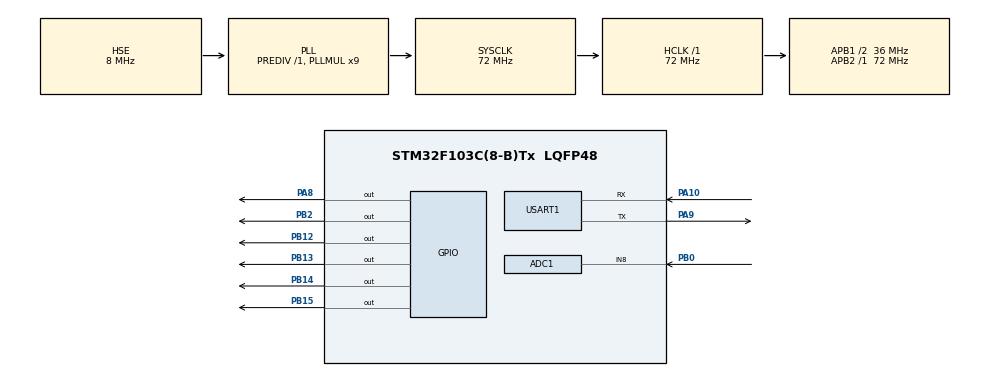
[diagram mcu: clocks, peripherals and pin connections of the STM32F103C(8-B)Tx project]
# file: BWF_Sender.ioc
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Mcu.Family=STM32F1
RCC.PLLSourceVirtual=RCC_PLLSOURCE_HSE
ADC1.Rank-0\#ChannelRegularConversion=1
PD1-OSC_OUT.Mode=HSE-External-Oscillator
PA10.Mode=Asynchronous
PD0-OSC_IN.Signal=RCC_OSC_IN
RCC.APB1CLKDivider=RCC_HCLK_DIV2
VP_SYS_VS_ND.Mode=No_Debug
PB15.Signal=GPIO_Output
PB13.Signal=GPIO_Output
RCC.SYSCLKSource=RCC_SYSCLKSOURCE_PLLCLK
ProjectManager.StackSize=0x400
PD1-OSC_OUT.Signal=RCC_OSC_OUT
RCC.ADCPresc=RCC_ADCPCLK2_DIV6
PA9.Mode=Asynchronous
ProjectManager.TargetToolchain=STM32CubeIDE
RCC.HCLKFreq_Value=72000000
RCC.APB2TimFreq_Value=72000000
PA9.Signal=USART1_TX
RCC.USBFreq_Value=72000000
RCC.AHBFreq_Value=72000000
PD0-OSC_IN.Mode=HSE-External-Oscillator
PB14.Signal=GPIO_Output
ADC1.Channel-0\#ChannelRegularConversion=ADC_CHANNEL_8
PB2.Signal=GPIO_Output
board=custom
RCC.PLLMUL=RCC_PLL_MUL9
RCC.APB2Freq_Value=72000000
VP_TIM2_VS_ClockSourceINT.Mode=Internal
SH.ADCx_IN8.0=ADC1_IN8,IN8
PA8.Signal=GPIO_Output
TIM2.Period=0xffff-1
Mcu.Name=STM32F103C(8-B)Tx
PB2.GPIO_PuPd=GPIO_PULLDOWN
ADC1.SamplingTime-0\#ChannelRegularConversion=ADC_SAMPLETIME_1CYCLE_5
RCC.SYSCLKFreq_VALUE=72000000
Mcu.Package=LQFP48
TIM2.Prescaler=72-1
ADC1.master=1
USART1.VirtualMode=VM_ASYNC
PA10.Signal=USART1_RX
ProjectManager.HeapSize=0x200
NVIC.PriorityGroup=NVIC_PRIORITYGROUP_4
ADC1.NbrOfConversionFlag=1
RCC.APB1TimFreq_Value=72000000
RCC.APB1Freq_Value=36000000
PB0.Signal=ADCx_IN8
PB12.Signal=GPIO_Output

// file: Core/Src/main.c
/* USER CODE BEGIN Header */
/**
  ******************************************************************************
  * @file           : main.c
  * @brief          : Main program body
  ******************************************************************************
  * @attention
  *
  * <h2><center>&copy; Copyright (c) 2021 STMicroelectronics.
  * All rights reserved.</center></h2>
  *
  * This software component is licensed by ST under BSD 3-Clause license,
  * the "License"; You may not use this file except in compliance with the
  * License. You may obtain a copy of the License at:
  *                        opensource.org/licenses/BSD-3-Clause
  *
  ******************************************************************************
  */
/* USER CODE END Header */
#include "main.h"
#include "string.h"
#include "stdio.h"
#include "math.h"
#include "stdlib.h"

/* USER CODE BEGIN PD */

#define DELAY 100		// 100
#define SIG1_LENGTH 10	// 10
#define LOOPCHECKTIME 10
#define AVERAGE_NUM 25

int CalibratedValue;
int CurrentValue;
uint8_t offset = 6;

uint32_t LoopTimer;

/* USER CODE END PD */

/* USER CODE BEGIN PM */

int8_t SIG1[SIG1_LENGTH] = {1, 1, -1, 1, 1, -1, -1, -1, 1, -1 };
uint32_t LED_timer;
uint8_t LED_status = 0;

/* USER CODE END PM */

ADC_HandleTypeDef hadc1;

TIM_HandleTypeDef htim2;

UART_HandleTypeDef huart1;

void SystemClock_Config(void);
static void MX_GPIO_Init(void);
static void MX_ADC1_Init(void);
static void MX_TIM2_Init(void);
static void MX_USART1_UART_Init(void);
/* USER CODE BEGIN PFP */

static void delay_us(uint16_t us);
static void signal_up(void);
static void signal_down(void);
static void signal_off(void);
static void toogle_led(void);
static void run_led(void);
static void run_sig(void);
static void CalibrateSens(void);
static void CheckDocked(void);

/* USER CODE END PFP */

/* USER CODE BEGIN 0 */

void run_sig(void) {

	  for (uint8_t x = 0; x < SIG1_LENGTH; x++) {

		  if (SIG1[x] == 1) signal_up();
		  else if(SIG1[x] == -1) signal_down();

		  delay_us(DELAY);

	  }
}

void signal_up(void)
{
	HAL_GPIO_WritePin(GPIOB, GPIO_PIN_14, GPIO_PIN_RESET);
	HAL_GPIO_WritePin(GPIOB, GPIO_PIN_15, GPIO_PIN_SET);

}
void signal_down(void)
{
	HAL_GPIO_WritePin(GPIOB, GPIO_PIN_15, GPIO_PIN_RESET);
	HAL_GPIO_WritePin(GPIOB, GPIO_PIN_14, GPIO_PIN_SET);
}

void signal_off(void) {

	HAL_GPIO_WritePin(GPIOB, GPIO_PIN_15, GPIO_PIN_RESET);
	HAL_GPIO_WritePin(GPIOB, GPIO_PIN_14, GPIO_PIN_RESET);
}

void delay_us (uint16_t us)
{
	__HAL_TIM_SET_COUNTER(&htim2,0);
	while (__HAL_TIM_GET_COUNTER(&htim2) < us);
}

void toogle_led(void) {

	if (HAL_GetTick() - LED_timer >= 200) {
		if (LED_status == 0) {
			HAL_GPIO_WritePin(GPIOA, GPIO_PIN_8, GPIO_PIN_SET);
			LED_status = 1;

			}
		else {
			HAL_GPIO_WritePin(GPIOA, GPIO_PIN_8, GPIO_PIN_RESET);
			LED_status = 0;
			}
		LED_timer = HAL_GetTick();
	}

}

void run_led(void) {

	if (LED_status == 0) {
		HAL_GPIO_WritePin(GPIOA, GPIO_PIN_8, GPIO_PIN_SET);
		LED_status = 1;

		}
}

void CalibrateSens(void) {
	int sumVolt = 0;

	for (uint16_t x = 0; x < 100; x++) {
		HAL_ADC_Start(&hadc1);
	   	HAL_ADC_PollForConversion(&hadc1, HAL_MAX_DELAY);
	   	sumVolt += HAL_ADC_GetValue(&hadc1);
	   	HAL_Delay(10);
	}

	CalibratedValue = sumVolt / 100;
}

void CheckDocked(void) {
	int sumVolt = 0;

	char msg[128];
	for (uint16_t x = 0; x < AVERAGE_NUM; x++) {
		HAL_ADC_Start(&hadc1);
	   	HAL_ADC_PollForConversion(&hadc1, HAL_MAX_DELAY);
	   	sumVolt += HAL_ADC_GetValue(&hadc1);
	}

	CurrentValue = sumVolt / AVERAGE_NUM;

	sprintf(msg, "Calibrated Value: %d Current Value: %d Diff: %d\r\n", CalibratedValue, CurrentValue, abs(CalibratedValue - CurrentValue));
	HAL_UART_Transmit(&huart1, (uint8_t *)msg, strlen(msg), HAL_MAX_DELAY);

}

/* USER CODE END 0 */

int main(void)
{

  /* MCU Configuration--------------------------------------------------------*/

  /* Reset of all peripherals, Initializes the Flash interface and the Systick. */
  HAL_Init();

  /* Configure the system clock */
  SystemClock_Config();

  /* Initialize all configured peripherals */
  MX_GPIO_Init();
  MX_ADC1_Init();
  MX_TIM2_Init();
  MX_USART1_UART_Init();
  /* USER CODE BEGIN 2 */

  HAL_TIM_Base_Start(&htim2);
  LED_timer = HAL_GetTick();

  HAL_Delay(2000);

  CalibrateSens();

  LoopTimer = HAL_GetTick();

  /* USER CODE END 2 */

  /* Infinite loop */
  /* USER CODE BEGIN WHILE */
  while (1)
  {

	  if (HAL_GetTick() - LoopTimer >= (LOOPCHECKTIME * 1000)) {
		  CheckDocked();
		  LoopTimer =  HAL_GetTick();
	  }

	  if ( abs(CalibratedValue - CurrentValue) < offset) {
		  toogle_led();
	  }
	  else {
		  run_led();
	  }

	  run_sig();

    /* USER CODE END WHILE */

  }
}

void SystemClock_Config(void)
{
  RCC_OscInitTypeDef RCC_OscInitStruct = {0};
  RCC_ClkInitTypeDef RCC_ClkInitStruct = {0};
  RCC_PeriphCLKInitTypeDef PeriphClkInit = {0};

  /** Initializes the RCC Oscillators according to the specified parameters
  * in the RCC_OscInitTypeDef structure.
  */
  RCC_OscInitStruct.OscillatorType = RCC_OSCILLATORTYPE_HSE;
  RCC_OscInitStruct.HSEState = RCC_HSE_ON;
  RCC_OscInitStruct.HSEPredivValue = RCC_HSE_PREDIV_DIV1;
  RCC_OscInitStruct.HSIState = RCC_HSI_ON;
  RCC_OscInitStruct.PLL.PLLState = RCC_PLL_ON;
  RCC_OscInitStruct.PLL.PLLSource = RCC_PLLSOURCE_HSE;
  RCC_OscInitStruct.PLL.PLLMUL = RCC_PLL_MUL9;
  if (HAL_RCC_OscConfig(&RCC_OscInitStruct) != HAL_OK)
  {
    Error_Handler();
  }
  /** Initializes the CPU, AHB and APB buses clocks
  */
  RCC_ClkInitStruct.ClockType = RCC_CLOCKTYPE_HCLK|RCC_CLOCKTYPE_SYSCLK
                              |RCC_CLOCKTYPE_PCLK1|RCC_CLOCKTYPE_PCLK2;
  RCC_ClkInitStruct.SYSCLKSource = RCC_SYSCLKSOURCE_PLLCLK;
  RCC_ClkInitStruct.AHBCLKDivider = RCC_SYSCLK_DIV1;
  RCC_ClkInitStruct.APB1CLKDivider = RCC_HCLK_DIV2;
  RCC_ClkInitStruct.APB2CLKDivider = RCC_HCLK_DIV1;

  if (HAL_RCC_ClockConfig(&RCC_ClkInitStruct, FLASH_LATENCY_2) != HAL_OK)
  {
    Error_Handler();
  }
  PeriphClkInit.PeriphClockSelection = RCC_PERIPHCLK_ADC;
  PeriphClkInit.AdcClockSelection = RCC_ADCPCLK2_DIV6;
  if (HAL_RCCEx_PeriphCLKConfig(&PeriphClkInit) != HAL_OK)
  {
    Error_Handler();
  }
}

static void MX_ADC1_Init(void)
{

  ADC_ChannelConfTypeDef sConfig = {0};

  /** Common config
  */
  hadc1.Instance = ADC1;
  hadc1.Init.ScanConvMode = ADC_SCAN_DISABLE;
  hadc1.Init.ContinuousConvMode = DISABLE;
  hadc1.Init.DiscontinuousConvMode = DISABLE;
  hadc1.Init.ExternalTrigConv = ADC_SOFTWARE_START;
  hadc1.Init.DataAlign = ADC_DATAALIGN_RIGHT;
  hadc1.Init.NbrOfConversion = 1;
  if (HAL_ADC_Init(&hadc1) != HAL_OK)
  {
    Error_Handler();
  }
  /** Configure Regular Channel
  */
  sConfig.Channel = ADC_CHANNEL_8;
  sConfig.Rank = ADC_REGULAR_RANK_1;
  sConfig.SamplingTime = ADC_SAMPLETIME_1CYCLE_5;
  if (HAL_ADC_ConfigChannel(&hadc1, &sConfig) != HAL_OK)
  {
    Error_Handler();
  }

}

static void MX_TIM2_Init(void)
{

  TIM_ClockConfigTypeDef sClockSourceConfig = {0};
  TIM_MasterConfigTypeDef sMasterConfig = {0};

  htim2.Instance = TIM2;
  htim2.Init.Prescaler = 72-1;
  htim2.Init.CounterMode = TIM_COUNTERMODE_UP;
  htim2.Init.Period = 0xffff-1;
  htim2.Init.ClockDivision = TIM_CLOCKDIVISION_DIV1;
  htim2.Init.AutoReloadPreload = TIM_AUTORELOAD_PRELOAD_DISABLE;
  if (HAL_TIM_Base_Init(&htim2) != HAL_OK)
  {
    Error_Handler();
  }
  sClockSourceConfig.ClockSource = TIM_CLOCKSOURCE_INTERNAL;
  if (HAL_TIM_ConfigClockSource(&htim2, &sClockSourceConfig) != HAL_OK)
  {
    Error_Handler();
  }
  sMasterConfig.MasterOutputTrigger = TIM_TRGO_RESET;
  sMasterConfig.MasterSlaveMode = TIM_MASTERSLAVEMODE_DISABLE;
  if (HAL_TIMEx_MasterConfigSynchronization(&htim2, &sMasterConfig) != HAL_OK)
  {
    Error_Handler();
  }

}

static void MX_USART1_UART_Init(void)
{

  huart1.Instance = USART1;
  huart1.Init.BaudRate = 115200;
  huart1.Init.WordLength = UART_WORDLENGTH_8B;
  huart1.Init.StopBits = UART_STOPBITS_1;
  huart1.Init.Parity = UART_PARITY_NONE;
  huart1.Init.Mode = UART_MODE_TX_RX;
  huart1.Init.HwFlowCtl = UART_HWCONTROL_NONE;
  huart1.Init.OverSampling = UART_OVERSAMPLING_16;
  if (HAL_UART_Init(&huart1) != HAL_OK)
  {
    Error_Handler();
  }

}

static void MX_GPIO_Init(void)
{
  GPIO_InitTypeDef GPIO_InitStruct = {0};

  /* GPIO Ports Clock Enable */
  __HAL_RCC_GPIOD_CLK_ENABLE();
  __HAL_RCC_GPIOB_CLK_ENABLE();
  __HAL_RCC_GPIOA_CLK_ENABLE();

  /*Configure GPIO pin Output Level */
  HAL_GPIO_WritePin(GPIOB, GPIO_PIN_2|GPIO_PIN_12|GPIO_PIN_13|GPIO_PIN_14
                          |GPIO_PIN_15, GPIO_PIN_RESET);

  /*Configure GPIO pin Output Level */
  HAL_GPIO_WritePin(GPIOA, GPIO_PIN_8, GPIO_PIN_RESET);

  /*Configure GPIO pin : PB2 */
  GPIO_InitStruct.Pin = GPIO_PIN_2;
  GPIO_InitStruct.Mode = GPIO_MODE_OUTPUT_PP;
  GPIO_InitStruct.Pull = GPIO_PULLDOWN;
  GPIO_InitStruct.Speed = GPIO_SPEED_FREQ_LOW;
  HAL_GPIO_Init(GPIOB, &GPIO_InitStruct);

  /*Configure GPIO pins : PB12 PB13 PB14 PB15 */
  GPIO_InitStruct.Pin = GPIO_PIN_12|GPIO_PIN_13|GPIO_PIN_14|GPIO_PIN_15;
  GPIO_InitStruct.Mode = GPIO_MODE_OUTPUT_PP;
  GPIO_InitStruct.Pull = GPIO_NOPULL;
  GPIO_InitStruct.Speed = GPIO_SPEED_FREQ_LOW;
  HAL_GPIO_Init(GPIOB, &GPIO_InitStruct);

  /*Configure GPIO pin : PA8 */
  GPIO_InitStruct.Pin = GPIO_PIN_8;
  GPIO_InitStruct.Mode = GPIO_MODE_OUTPUT_PP;
  GPIO_InitStruct.Pull = GPIO_NOPULL;
  GPIO_InitStruct.Speed = GPIO_SPEED_FREQ_LOW;
  HAL_GPIO_Init(GPIOA, &GPIO_InitStruct);

}

void Error_Handler(void)
{
  __disable_irq();
  while (1)
  {
  }
}

/************************ (C) COPYRIGHT STMicroelectronics *****END OF FILE****/
